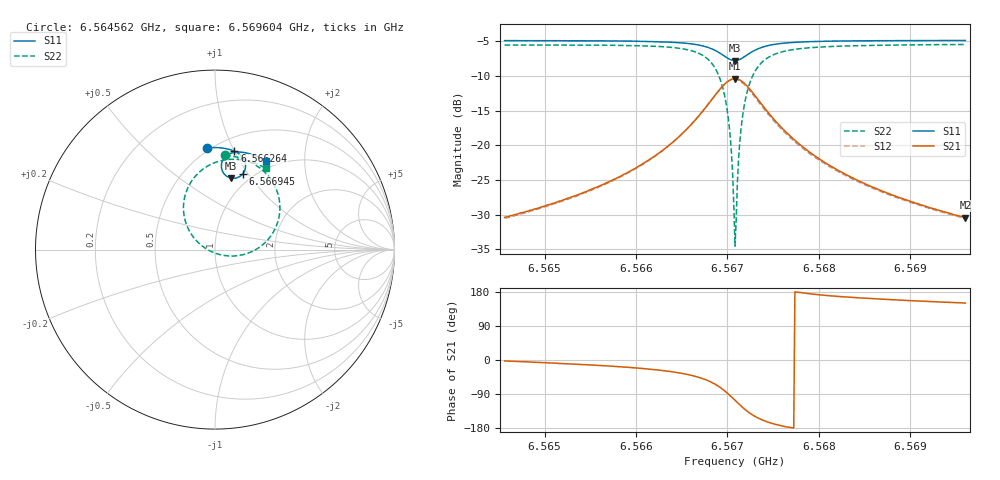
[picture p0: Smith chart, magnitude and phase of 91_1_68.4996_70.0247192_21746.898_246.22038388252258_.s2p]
#  HZ  S  RI  R  50.00
! Rohde & Schwarz Vector Network Analyzer
! Rohde-Schwarz,ZNB20-2Port,1311601062101988,3.16
! Created: UTC 3/20/2024, 4:52:39 PM
! freq[Hz]  re:S11  im:S11  re:S21  im:S21  re:S12  im:S12  re:S22  im:S22
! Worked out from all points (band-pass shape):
!   401 points, 6.564562 GHz to 6.569604 GHz, reference 50 ohm
!   highest |S21| = -10.38 dB at 6.567083 GHz (marker M1); lowest = -30.4 dB at 6.569604 GHz (marker M2)
!   |S21| within 3 dB of the highest: 6.56683 GHz to 6.567335 GHz (504.3 kHz wide, 0.00768 % of centre)
!   lowest |S11| = -7.8 dB at 6.567083 GHz (marker M3), VSWR 2.38, Z = 42 + j40.2 ohm
!   |S11| at or under -10 dB: nowhere
!   |S22| runs from -34.5 to -5.4 dB; largest |S21 - S12| = 0.015
!   S11 on the Smith chart (normalised r, x): 6.564562 GHz: 0.48, +0.80; 6.566264 GHz: 0.63, +1.00; 6.566945 GHz: 0.89, +0.95; 6.569604 GHz: 0.89, +1.30
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6.5645623e9  -0.0461 0.5676  0.0303 -0.00123  0.0298 -0.00191  0.0567 0.5261
6.5654068e9  0.0243 0.5675  0.0442 -0.00936  0.0435 -0.00987  0.1402 0.5098
6.5662513e9  0.1064 0.5492  0.0787 -0.0397  0.0776 -0.0405  0.2614 0.4459
6.5662639e9  0.1078 0.5487  0.0796 -0.0406  0.0784 -0.0417  0.2638 0.4438
6.5665412e9  0.1417 0.5271  0.1022 -0.0773  0.1007 -0.0789  0.324 0.3715
6.5667429e9  0.1657 0.4919  0.1157 -0.1391  0.1129 -0.1421  0.361 0.2522
6.5668563e9  0.1697 0.4571  0.1038 -0.2005  0.0983 -0.2045  0.3431 0.1349
6.5669446e9  0.1555 0.4233  0.062 -0.2584  0.0526 -0.2619  0.2658 0.027
6.5669824e9  0.142 0.4101  0.0304 -0.2798  0.0188 -0.2816  0.2065 -0.0108
6.5670202e9  0.1237 0.4008  -0.00938 -0.2938  -0.0228 -0.293  0.1328 -0.0331
6.5670706e9  0.0948 0.3978  -0.07 -0.2943  -0.0836 -0.2886  0.024 -0.0271
6.5670832e9  0.0875 0.399  -0.085 -0.2905  -0.0983 -0.2837  -0.00253 -0.0186
6.5670958e9  0.0802 0.4011  -0.0998 -0.2854  -0.1126 -0.2775  -0.0278 -0.00749
6.5671084e9  0.0733 0.4039  -0.1138 -0.2789  -0.126 -0.2698  -0.0516 0.00609
6.5671336e9  0.0611 0.4118  -0.1392 -0.2621  -0.1496 -0.2512  -0.094 0.0394
6.5671715e9  0.0469 0.4273  -0.1687 -0.2305  -0.1761 -0.2179  -0.1404 0.0994
6.5672219e9  0.037 0.4507  -0.191 -0.1838  -0.1942 -0.1711  -0.1714 0.1839
6.5672849e9  0.0367 0.4779  -0.1969 -0.1309  -0.1962 -0.1198  -0.1719 0.2772
6.5675118e9  0.0745 0.5298  -0.1507 -0.0294  -0.1473 -0.0249  -0.0687 0.4474
6.5679278e9  0.1374 0.5436  -0.0863 0.00916  -0.0842 0.0104  0.0741 0.5021
6.5687723e9  0.2194 0.5254  -0.0419 0.0157  -0.041 0.016  0.2061 0.4868
6.5696042e9  0.2825 0.4964  -0.0262 0.015  -0.0257 0.0151  0.2832 0.453
